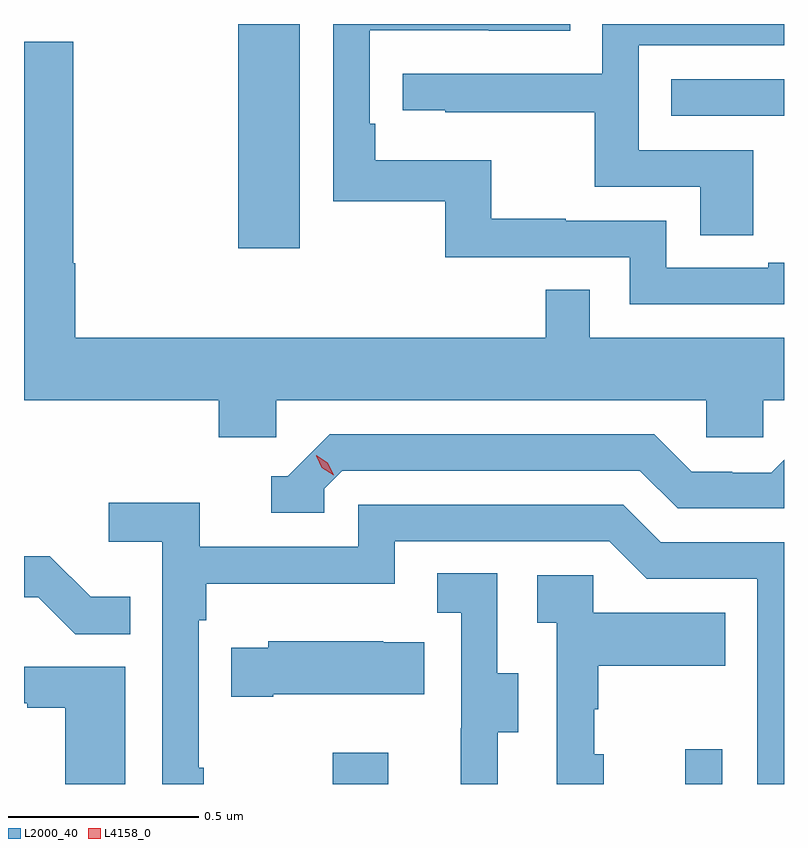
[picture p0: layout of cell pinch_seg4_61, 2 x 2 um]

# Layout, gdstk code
import gdstk
lib = gdstk.Library(unit=1e-6, precision=1e-09)
def R(c, l, rs):  # rectangles x0, y0, x1, y1
    for r in rs: c.add(gdstk.rectangle(r[:2], r[2:], *l))
def P(c, l, *ps):  # polygons
    for p in ps: c.add(gdstk.Polygon(p, *l))
L2000_40 = (2000, 40)
L4158_0 = (4158, 0)

pinch_seg4_61 = lib.new_cell('pinch_seg4_61')
R(pinch_seg4_61, L2000_40, [(1035.4,830.442,1035.547,830.524), (1036.328,830.442,1036.425,830.533), (1035.152,831.852,1035.313,832.442), (1036.291,832.2,1036.588,832.296)])
P(pinch_seg4_61, L2000_40, [(1036.588,831.814),(1036.547,831.814),(1036.547,831.801),(1036.278,831.801),(1036.278,831.924),(1036.013,831.924),(1036.013,831.929),(1035.817,831.929),(1035.817,832.084),(1035.512,832.084),(1035.512,832.18),(1035.498,832.18),(1035.498,832.425),(1035.811,832.425),(1035.811,832.424),(1036.025,832.424),(1036.025,832.442),(1035.402,832.442),(1035.402,831.975),(1035.696,831.975),(1035.696,831.828),(1036.182,831.828),(1036.182,831.705),(1036.588,831.705)],
  [(1036.507,832.11),(1036.206,832.11),(1036.206,832.386),(1036.588,832.386),(1036.588,832.442),(1036.11,832.442),(1036.11,832.311),(1035.585,832.311),(1035.585,832.215),(1035.697,832.215),(1035.697,832.21),(1036.09,832.21),(1036.09,832.014),(1036.367,832.014),(1036.367,831.886),(1036.507,831.886)],
  [(1035.252,831.452),(1036.383,831.452),(1036.383,831.354),(1036.533,831.354),(1036.533,831.452),(1036.588,831.452),(1036.588,831.616),(1036.077,831.616),(1036.077,831.743),(1035.961,831.743),(1035.961,831.616),(1034.723,831.616),(1034.723,831.812),(1034.718,831.812),(1034.718,832.395),(1034.588,832.395),(1034.588,831.452),(1035.101,831.452),(1035.101,831.354),(1035.252,831.354)],
  [(1035.378,831.219),(1035.426,831.267),(1036.209,831.267),(1036.308,831.168),(1036.588,831.168),(1036.588,831.295),(1036.555,831.261),(1036.452,831.261),(1036.452,831.264),(1036.345,831.264),(1036.246,831.363),(1035.393,831.363),(1035.282,831.252),(1035.239,831.252),(1035.239,831.156),(1035.378,831.156)],
  [(1035.061,830.485),(1035.048,830.485),(1035.048,830.873),(1035.068,830.873),(1035.068,830.969),(1035.564,830.969),(1035.564,831.081),(1036.128,831.081),(1036.227,830.982),(1036.518,830.982),(1036.518,830.442),(1036.588,830.442),(1036.588,831.078),(1036.264,831.078),(1036.165,831.177),(1035.468,831.177),(1035.468,831.066),(1035.05,831.066),(1035.05,831.182),(1034.811,831.182),(1034.811,831.08),(1034.952,831.08),(1034.952,830.442),(1035.061,830.442)],
  [(1034.867,830.935),(1034.763,830.935),(1034.656,831.042),(1034.588,831.042),(1034.588,830.934),(1034.625,830.934),(1034.723,830.836),(1034.867,830.836)],
  [(1035.835,830.578),(1035.889,830.578),(1035.889,830.733),(1035.834,830.733),(1035.834,830.996),(1035.675,830.996),(1035.675,830.893),(1035.738,830.893),(1035.738,830.589),(1035.737,830.589),(1035.737,830.442),(1035.835,830.442)],
  [(1036.114,830.52),(1036.089,830.52),(1036.089,830.639),(1036.099,830.639),(1036.099,830.753),(1036.433,830.753),(1036.433,830.893),(1036.086,830.893),(1036.086,830.991),(1035.939,830.991),(1035.939,830.867),(1035.99,830.867),(1035.99,830.442),(1036.114,830.442)],
  [(1035.244,830.678),(1035.641,830.678),(1035.641,830.815),(1035.533,830.815),(1035.533,830.818),(1035.231,830.818),(1035.231,830.8),(1035.133,830.8),(1035.133,830.671),(1035.244,830.671)],
  [(1034.854,830.751),(1034.588,830.751),(1034.588,830.655),(1034.597,830.655),(1034.597,830.643),(1034.696,830.643),(1034.696,830.442),(1034.854,830.442)])
P(pinch_seg4_61, L4158_0, [(1035.403,831.254),(1035.372,831.274),(1035.357,831.306),(1035.357,831.307),(1035.357,831.307),(1035.387,831.287),(1035.403,831.254),(1035.403,831.254)])

lib.write_gds('pinch_seg4_61.gds')
